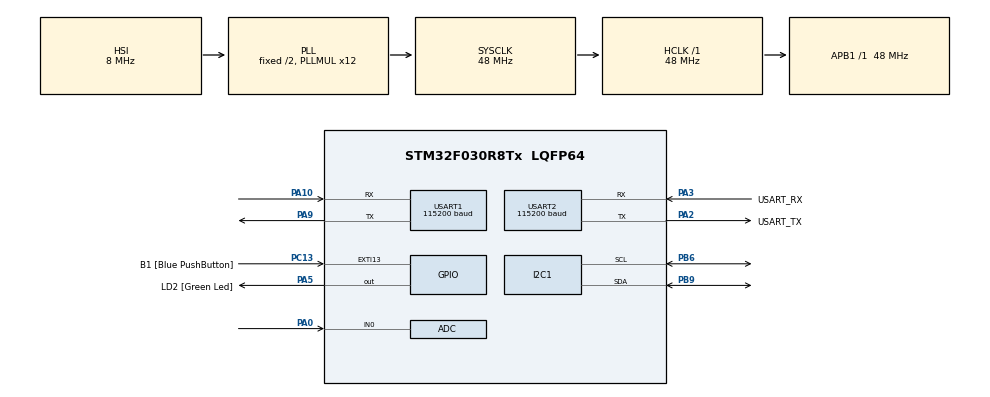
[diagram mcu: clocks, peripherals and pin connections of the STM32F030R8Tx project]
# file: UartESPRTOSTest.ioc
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FREERTOS.Tasks01=defaultTask,-1,256,StartDefaultTask,Default,NULL,Dynamic,NULL,NULL;Read_T_H_A_L_Se,0,128,ReadSensors,Default,NULL,Dynamic,NULL,NULL;ConnectToESP,1,256,ConnectToServer,Default,NULL,Dynamic,NULL,NULL
Mcu.Family=STM32F0
Mcu.Name=STM32F030R8Tx
Mcu.Package=LQFP64
NVIC.RTC_IRQn=true\:0\:0\:false\:false\:true\:false\:true\:true
NVIC.TIM1_BRK_UP_TRG_COM_IRQn=true\:0\:0\:false\:false\:true\:false\:false\:true
NVIC.TimeBase=TIM1_BRK_UP_TRG_COM_IRQn
NVIC.TimeBaseIP=TIM1
NVIC.USART1_IRQn=true\:0\:0\:false\:false\:true\:false\:true\:true
PA0.Mode=IN0
PA0.Signal=ADC_IN0
PA10.Mode=Asynchronous
PA10.Signal=USART1_RX
PA13.GPIO_Label=TMS
PA13.Mode=Serial_Wire
PA13.Signal=SYS_SWDIO
PA14.GPIO_Label=TCK
PA14.Mode=Serial_Wire
PA14.Signal=SYS_SWCLK
PA2.GPIO_Label=USART_TX
PA2.GPIO_Mode=GPIO_MODE_AF_PP
PA2.GPIO_PuPd=GPIO_NOPULL
PA2.GPIO_Speed=GPIO_SPEED_FREQ_LOW
PA2.Mode=Asynchronous
PA2.Signal=USART2_TX
PA3.GPIO_Label=USART_RX
PA3.GPIO_Mode=GPIO_MODE_AF_PP
PA3.GPIO_PuPd=GPIO_NOPULL
PA3.GPIO_Speed=GPIO_SPEED_FREQ_LOW
PA3.Mode=Asynchronous
PA3.Signal=USART2_RX
PA5.GPIO_Label=LD2 [Green Led]
PA5.GPIO_Mode=GPIO_MODE_OUTPUT_PP
PA5.GPIO_PuPd=GPIO_NOPULL
PA5.GPIO_Speed=GPIO_SPEED_FREQ_LOW
PA5.Signal=GPIO_Output
PA9.Mode=Asynchronous
PA9.Signal=USART1_TX
PB6.Mode=I2C
PB6.Signal=I2C1_SCL
PB9.Mode=I2C
PB9.Signal=I2C1_SDA
PC13.GPIO_Label=B1 [Blue PushButton]
PC13.GPIO_ModeDefaultEXTI=GPIO_MODE_IT_FALLING
PC13.Signal=GPXTI13
PC14-OSC32_IN.Mode=LSE-External-Oscillator
PC14-OSC32_IN.Signal=RCC_OSC32_IN
PC15-OSC32_OUT.Mode=LSE-External-Oscillator
PC15-OSC32_OUT.Signal=RCC_OSC32_OUT
PF0-OSC_IN.Mode=HSE-External-Clock-Source
PF0-OSC_IN.Signal=RCC_OSC_IN
PF1-OSC_OUT.Signal=RCC_OSC_OUT
ProjectManager.HeapSize=0x200
ProjectManager.StackSize=0x400
ProjectManager.TargetToolchain=STM32CubeIDE
RCC.AHBFreq_Value=48000000
RCC.APB1Freq_Value=48000000
RCC.APB1TimFreq_Value=48000000
RCC.HCLKFreq_Value=48000000
RCC.PLLMUL=RCC_PLL_MUL12
RCC.SYSCLKFreq_VALUE=48000000
RCC.SYSCLKSource=RCC_SYSCLKSOURCE_PLLCLK
RTC.Alarm-Alarm\ A=RTC_ALARM_A
RTC.Minutes=0
RTC.Minutes_A-Alarm\ A=1
RTC.Seconds_A-Alarm\ A=0
USART1.BaudRate=115200
USART1.VirtualMode-Asynchronous=VM_ASYNC
USART2.BaudRate=115200
USART2.VirtualMode-Asynchronous=VM_ASYNC
VP_FREERTOS_VS_CMSIS_V1.Mode=CMSIS_V1
VP_RTC_VS_RTC_Activate.Mode=RTC_Enabled
VP_RTC_VS_RTC_Alarm_A_Intern.Mode=Alarm A
VP_RTC_VS_RTC_Calendar.Mode=RTC_Calendar
VP_SYS_VS_tim1.Mode=TIM1
board=NUCLEO-F030R8

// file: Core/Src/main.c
/* USER CODE BEGIN Header */
/**
 ******************************************************************************
 * @file           : main.c
 * @brief          : Main program body
 ******************************************************************************
 * @attention
 *
 * <h2><center>&copy; Copyright (c) 2020 STMicroelectronics.
 * All rights reserved.</center></h2>
 *
 * This software component is licensed by ST under BSD 3-Clause license,
 * the "License"; You may not use this file except in compliance with the
 * License. You may obtain a copy of the License at:
 *                        opensource.org/licenses/BSD-3-Clause
 *
 ******************************************************************************
 */
/* USER CODE END Header */
#include "main.h"
#include "cmsis_os.h"

/* USER CODE BEGIN Includes */
#include "ESP-Wireless-v1.h"
#include "I2c.h"
#include "T_H_A_L_Sensor.h"
#include "standBy.h"
/* USER CODE END Includes */

ADC_HandleTypeDef hadc;

I2C_HandleTypeDef hi2c1;

RTC_HandleTypeDef hrtc;

UART_HandleTypeDef huart1;
UART_HandleTypeDef huart2;

osThreadId defaultTaskHandle;
osThreadId Read_T_H_A_L_SeHandle;
osThreadId ConnectToESPHandle;

void SystemClock_Config(void);
static void MX_GPIO_Init(void);
static void MX_USART2_UART_Init(void);
static void MX_ADC_Init(void);
static void MX_I2C1_Init(void);
static void MX_USART1_UART_Init(void);
static void MX_RTC_Init(void);
void StartDefaultTask(void const * argument);
void ReadSensors(void const * argument);
void ConnectToServer(void const * argument);

/* USER CODE BEGIN PFP */
//typedef struct { double T,H,A,L; int minutes_expired;} SensorData;
int missed_cycles = 0;
SensorData sensorData[11];
uint8_t Connection_Server_status = 0;
uint8_t Sensor_Read_status = 0;
/* USER CODE END PFP */

int main(void)
{

  /* MCU Configuration--------------------------------------------------------*/

  /* Reset of all peripherals, Initializes the Flash interface and the Systick. */
  HAL_Init();

  /* Configure the system clock */
  SystemClock_Config();

  /* Initialize all configured peripherals */
  MX_GPIO_Init();
  MX_USART2_UART_Init();
  MX_ADC_Init();
  MX_I2C1_Init();
  MX_USART1_UART_Init();
  MX_RTC_Init();

  /* Create the thread(s) */
  /* definition and creation of defaultTask */
  osThreadDef(defaultTask, StartDefaultTask, osPriorityBelowNormal, 0, 256);
  defaultTaskHandle = osThreadCreate(osThread(defaultTask), NULL);

  /* definition and creation of Read_T_H_A_L_Se */
  osThreadDef(Read_T_H_A_L_Se, ReadSensors, osPriorityNormal, 0, 128);
  Read_T_H_A_L_SeHandle = osThreadCreate(osThread(Read_T_H_A_L_Se), NULL);

  /* definition and creation of ConnectToESP */
  osThreadDef(ConnectToESP, ConnectToServer, osPriorityAboveNormal, 0, 256);
  ConnectToESPHandle = osThreadCreate(osThread(ConnectToESP), NULL);

  /* Start scheduler */
  osKernelStart();

  /* We should never get here as control is now taken by the scheduler */
  /* Infinite loop */
	while (1) {

	}
}

void SystemClock_Config(void)
{
  RCC_OscInitTypeDef RCC_OscInitStruct = {0};
  RCC_ClkInitTypeDef RCC_ClkInitStruct = {0};
  RCC_PeriphCLKInitTypeDef PeriphClkInit = {0};

  /** Initializes the RCC Oscillators according to the specified parameters
  * in the RCC_OscInitTypeDef structure.
  */
  RCC_OscInitStruct.OscillatorType = RCC_OSCILLATORTYPE_HSI|RCC_OSCILLATORTYPE_HSI14
                              |RCC_OSCILLATORTYPE_LSI;
  RCC_OscInitStruct.HSIState = RCC_HSI_ON;
  RCC_OscInitStruct.HSI14State = RCC_HSI14_ON;
  RCC_OscInitStruct.HSICalibrationValue = RCC_HSICALIBRATION_DEFAULT;
  RCC_OscInitStruct.HSI14CalibrationValue = 16;
  RCC_OscInitStruct.LSIState = RCC_LSI_ON;
  RCC_OscInitStruct.PLL.PLLState = RCC_PLL_ON;
  RCC_OscInitStruct.PLL.PLLSource = RCC_PLLSOURCE_HSI;
  RCC_OscInitStruct.PLL.PLLMUL = RCC_PLL_MUL12;
  RCC_OscInitStruct.PLL.PREDIV = RCC_PREDIV_DIV1;
  if (HAL_RCC_OscConfig(&RCC_OscInitStruct) != HAL_OK)
  {
    Error_Handler();
  }
  /** Initializes the CPU, AHB and APB buses clocks
  */
  RCC_ClkInitStruct.ClockType = RCC_CLOCKTYPE_HCLK|RCC_CLOCKTYPE_SYSCLK
                              |RCC_CLOCKTYPE_PCLK1;
  RCC_ClkInitStruct.SYSCLKSource = RCC_SYSCLKSOURCE_PLLCLK;
  RCC_ClkInitStruct.AHBCLKDivider = RCC_SYSCLK_DIV1;
  RCC_ClkInitStruct.APB1CLKDivider = RCC_HCLK_DIV1;

  if (HAL_RCC_ClockConfig(&RCC_ClkInitStruct, FLASH_LATENCY_1) != HAL_OK)
  {
    Error_Handler();
  }
  PeriphClkInit.PeriphClockSelection = RCC_PERIPHCLK_USART1|RCC_PERIPHCLK_I2C1
                              |RCC_PERIPHCLK_RTC;
  PeriphClkInit.Usart1ClockSelection = RCC_USART1CLKSOURCE_PCLK1;
  PeriphClkInit.I2c1ClockSelection = RCC_I2C1CLKSOURCE_HSI;
  PeriphClkInit.RTCClockSelection = RCC_RTCCLKSOURCE_LSI;
  if (HAL_RCCEx_PeriphCLKConfig(&PeriphClkInit) != HAL_OK)
  {
    Error_Handler();
  }
}

static void MX_ADC_Init(void)
{

  ADC_ChannelConfTypeDef sConfig = {0};

  /** Configure the global features of the ADC (Clock, Resolution, Data Alignment and number of conversion)
  */
  hadc.Instance = ADC1;
  hadc.Init.ClockPrescaler = ADC_CLOCK_ASYNC_DIV1;
  hadc.Init.Resolution = ADC_RESOLUTION_12B;
  hadc.Init.DataAlign = ADC_DATAALIGN_RIGHT;
  hadc.Init.ScanConvMode = ADC_SCAN_DIRECTION_FORWARD;
  hadc.Init.EOCSelection = ADC_EOC_SINGLE_CONV;
  hadc.Init.LowPowerAutoWait = DISABLE;
  hadc.Init.LowPowerAutoPowerOff = DISABLE;
  hadc.Init.ContinuousConvMode = DISABLE;
  hadc.Init.DiscontinuousConvMode = DISABLE;
  hadc.Init.ExternalTrigConv = ADC_SOFTWARE_START;
  hadc.Init.ExternalTrigConvEdge = ADC_EXTERNALTRIGCONVEDGE_NONE;
  hadc.Init.DMAContinuousRequests = DISABLE;
  hadc.Init.Overrun = ADC_OVR_DATA_PRESERVED;
  if (HAL_ADC_Init(&hadc) != HAL_OK)
  {
    Error_Handler();
  }
  /** Configure for the selected ADC regular channel to be converted.
  */
  sConfig.Channel = ADC_CHANNEL_0;
  sConfig.Rank = ADC_RANK_CHANNEL_NUMBER;
  sConfig.SamplingTime = ADC_SAMPLETIME_1CYCLE_5;
  if (HAL_ADC_ConfigChannel(&hadc, &sConfig) != HAL_OK)
  {
    Error_Handler();
  }

}

static void MX_I2C1_Init(void)
{

  hi2c1.Instance = I2C1;
  hi2c1.Init.Timing = 0x2000090E;
  hi2c1.Init.OwnAddress1 = 0;
  hi2c1.Init.AddressingMode = I2C_ADDRESSINGMODE_7BIT;
  hi2c1.Init.DualAddressMode = I2C_DUALADDRESS_DISABLE;
  hi2c1.Init.OwnAddress2 = 0;
  hi2c1.Init.OwnAddress2Masks = I2C_OA2_NOMASK;
  hi2c1.Init.GeneralCallMode = I2C_GENERALCALL_DISABLE;
  hi2c1.Init.NoStretchMode = I2C_NOSTRETCH_DISABLE;
  if (HAL_I2C_Init(&hi2c1) != HAL_OK)
  {
    Error_Handler();
  }
  /** Configure Analogue filter
  */
  if (HAL_I2CEx_ConfigAnalogFilter(&hi2c1, I2C_ANALOGFILTER_ENABLE) != HAL_OK)
  {
    Error_Handler();
  }
  /** Configure Digital filter
  */
  if (HAL_I2CEx_ConfigDigitalFilter(&hi2c1, 0) != HAL_OK)
  {
    Error_Handler();
  }

}

static void MX_RTC_Init(void)
{

  RTC_TimeTypeDef sTime = {0};
  RTC_DateTypeDef sDate = {0};
  RTC_AlarmTypeDef sAlarm = {0};

  /** Initialize RTC Only
  */
  hrtc.Instance = RTC;
  hrtc.Init.HourFormat = RTC_HOURFORMAT_24;
  hrtc.Init.AsynchPrediv = 127;
  hrtc.Init.SynchPrediv = 255;
  hrtc.Init.OutPut = RTC_OUTPUT_DISABLE;
  hrtc.Init.OutPutPolarity = RTC_OUTPUT_POLARITY_HIGH;
  hrtc.Init.OutPutType = RTC_OUTPUT_TYPE_OPENDRAIN;
  if (HAL_RTC_Init(&hrtc) != HAL_OK)
  {
    Error_Handler();
  }

  /** Initialize RTC and set the Time and Date
  */
  sTime.Hours = 0x0;
  sTime.Minutes = 0x0;
  sTime.Seconds = 0x0;
  sTime.DayLightSaving = RTC_DAYLIGHTSAVING_NONE;
  sTime.StoreOperation = RTC_STOREOPERATION_RESET;
  if (HAL_RTC_SetTime(&hrtc, &sTime, RTC_FORMAT_BCD) != HAL_OK)
  {
    Error_Handler();
  }
  sDate.WeekDay = RTC_WEEKDAY_MONDAY;
  sDate.Month = RTC_MONTH_JANUARY;
  sDate.Date = 0x1;
  sDate.Year = 0x0;

  if (HAL_RTC_SetDate(&hrtc, &sDate, RTC_FORMAT_BCD) != HAL_OK)
  {
    Error_Handler();
  }
  /** Enable the Alarm A
  */
  sAlarm.AlarmTime.Hours = 0x0;
  sAlarm.AlarmTime.Minutes = 0x1;
  sAlarm.AlarmTime.Seconds = 0x13;
  sAlarm.AlarmTime.SubSeconds = 0x0;
  sAlarm.AlarmTime.DayLightSaving = RTC_DAYLIGHTSAVING_NONE;
  sAlarm.AlarmTime.StoreOperation = RTC_STOREOPERATION_RESET;
  sAlarm.AlarmMask = RTC_ALARMMASK_NONE;
  sAlarm.AlarmSubSecondMask = RTC_ALARMSUBSECONDMASK_ALL;
  sAlarm.AlarmDateWeekDaySel = RTC_ALARMDATEWEEKDAYSEL_DATE;
  sAlarm.AlarmDateWeekDay = 0x1;
  sAlarm.Alarm = RTC_ALARM_A;
  if (HAL_RTC_SetAlarm_IT(&hrtc, &sAlarm, RTC_FORMAT_BCD) != HAL_OK)
  {
    Error_Handler();
  }

}

static void MX_USART1_UART_Init(void)
{

  huart1.Instance = USART1;
  huart1.Init.BaudRate = 115200;
  huart1.Init.WordLength = UART_WORDLENGTH_8B;
  huart1.Init.StopBits = UART_STOPBITS_1;
  huart1.Init.Parity = UART_PARITY_NONE;
  huart1.Init.Mode = UART_MODE_TX_RX;
  huart1.Init.HwFlowCtl = UART_HWCONTROL_NONE;
  huart1.Init.OverSampling = UART_OVERSAMPLING_16;
  huart1.Init.OneBitSampling = UART_ONE_BIT_SAMPLE_DISABLE;
  huart1.AdvancedInit.AdvFeatureInit = UART_ADVFEATURE_NO_INIT;
  if (HAL_UART_Init(&huart1) != HAL_OK)
  {
    Error_Handler();
  }

}

static void MX_USART2_UART_Init(void)
{

  huart2.Instance = USART2;
  huart2.Init.BaudRate = 115200;
  huart2.Init.WordLength = UART_WORDLENGTH_8B;
  huart2.Init.StopBits = UART_STOPBITS_1;
  huart2.Init.Parity = UART_PARITY_NONE;
  huart2.Init.Mode = UART_MODE_TX_RX;
  huart2.Init.HwFlowCtl = UART_HWCONTROL_NONE;
  huart2.Init.OverSampling = UART_OVERSAMPLING_16;
  huart2.Init.OneBitSampling = UART_ONE_BIT_SAMPLE_DISABLE;
  huart2.AdvancedInit.AdvFeatureInit = UART_ADVFEATURE_NO_INIT;
  if (HAL_UART_Init(&huart2) != HAL_OK)
  {
    Error_Handler();
  }

}

static void MX_GPIO_Init(void)
{
  GPIO_InitTypeDef GPIO_InitStruct = {0};

  /* GPIO Ports Clock Enable */
  __HAL_RCC_GPIOC_CLK_ENABLE();
  __HAL_RCC_GPIOF_CLK_ENABLE();
  __HAL_RCC_GPIOA_CLK_ENABLE();
  __HAL_RCC_GPIOB_CLK_ENABLE();

  /*Configure GPIO pin Output Level */
  HAL_GPIO_WritePin(LD2_GPIO_Port, LD2_Pin, GPIO_PIN_RESET);

  /*Configure GPIO pin : B1_Pin */
  GPIO_InitStruct.Pin = B1_Pin;
  GPIO_InitStruct.Mode = GPIO_MODE_IT_FALLING;
  GPIO_InitStruct.Pull = GPIO_NOPULL;
  HAL_GPIO_Init(B1_GPIO_Port, &GPIO_InitStruct);

  /*Configure GPIO pin : LD2_Pin */
  GPIO_InitStruct.Pin = LD2_Pin;
  GPIO_InitStruct.Mode = GPIO_MODE_OUTPUT_PP;
  GPIO_InitStruct.Pull = GPIO_NOPULL;
  GPIO_InitStruct.Speed = GPIO_SPEED_FREQ_LOW;
  HAL_GPIO_Init(LD2_GPIO_Port, &GPIO_InitStruct);

}

void StartDefaultTask(void const * argument)
{
  /* USER CODE BEGIN 5 */
	/* Infinite loop */
	resetStandBy();

	if (Sensor_Read_status == 2 && Connection_Server_status == 2) {

		int i = 0;
		while (i < missed_cycles) {
			for (int j = 0; j < 10; j++) {
				readFlash_Measure_DATA(&j, &sensorData);
				sensorData[j].minutes_expired = missed_cycles - i;
				tcpSend(sensorData[j].T, sensorData[j].H, sensorData[j].A,
						sensorData[j].L, sensorData[j].minutes_expired);

				i++;
				char text[10];
				itoa(i, text, 10);
				consoleSend(text);
				if (i % 90==0) {
					HAL_Delay(1000);
					int Connection45 =espConnect("Quinnvanderschaar", "test1234");
					HAL_Delay(5000);
					Connection45 = tcpConnect("database.baars.cloud", "8124");
				}
					if (i == missed_cycles) {
					j = 10;
				}

			}

		}
		//send current data
		tcpSend(sensorData[10].T, sensorData[10].H, sensorData[10].A,
				sensorData[10].L, 0);
		missed_cycles = 0;
		Sensor_Read_status = 0;
		Connection_Server_status = 0;
		writeFlash(&missed_cycles, &sensorData);
		startStandBy();

	} else if (Sensor_Read_status == 2 && Connection_Server_status == 1) {
		missed_cycles++;
		writeFlash(&missed_cycles, &sensorData);
		startStandBy();
	} else {
		//sleep mode
		missed_cycles++;
		writeFlash(&missed_cycles, &sensorData);
		startStandBy();
	}
	//startStandBy();
	vTaskDelete( NULL);

  /* USER CODE END 5 */
}

void ReadSensors(void const * argument)
{
  /* USER CODE BEGIN ReadSensors */
	/* Infinite loop */
	readFlash_cycles(&missed_cycles, &sensorData);
	if (Sensor_Read_status == 0) {
		sensorData[10].T = Tem_Sensor();
		sensorData[10].H = Hum_Sensor();
		sensorData[10].A = Read_Pressure_Sensor();
		sensorData[10].L = LUX_Sensor();
		Sensor_Read_status = 2;
	}
	vTaskDelete( NULL);

  /* USER CODE END ReadSensors */
}

void ConnectToServer(void const * argument)
{
  /* USER CODE BEGIN ConnectToServer */
	/* Infinite loop */

	static _Bool Connection = 0;
	if (Connection_Server_status == 0) {
		Connection = espConnect("Quinnvanderschaar", "test1234");
		HAL_Delay(10);
		Connection = tcpConnect("database.baars.cloud", "8124");
		HAL_Delay(10);
		if (Connection == 1) {
			Connection_Server_status = 2;
		} else {
			Connection_Server_status = 1;
		}
	}
	vTaskDelete( NULL);

  /* USER CODE END ConnectToServer */
}

void HAL_TIM_PeriodElapsedCallback(TIM_HandleTypeDef *htim)
{
  if (htim->Instance == TIM1) {
    HAL_IncTick();
  }
}

void Error_Handler(void)
{
}

/************************ (C) COPYRIGHT STMicroelectronics *****END OF FILE****/
